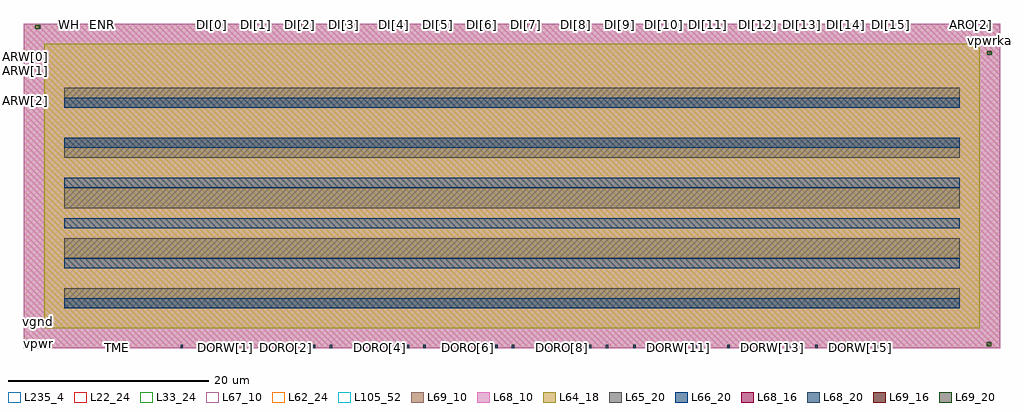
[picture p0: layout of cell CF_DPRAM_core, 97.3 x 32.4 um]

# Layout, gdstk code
import gdstk
lib = gdstk.Library(unit=1e-6, precision=1e-09)
def R(c, l, rs):  # rectangles x0, y0, x1, y1
    for r in rs: c.add(gdstk.rectangle(r[:2], r[2:], *l))
def A(c, l, x, y, w, h, nx, ny, dx, dy):  # array of equal rectangles
    R(c, l, [(x+i*dx, y+j*dy, x+i*dx+w, y+j*dy+h) for i in range(nx) for j in range(ny)])
L22_24 = (22, 24)
L33_24 = (33, 24)
L62_24 = (62, 24)
L64_18 = (64, 18)
L65_20 = (65, 20)
L66_20 = (66, 20)
L67_10 = (67, 10)
L68_10 = (68, 10)
L68_16 = (68, 16)
L68_20 = (68, 20)
L69_10 = (69, 10)
L69_16 = (69, 16)
L69_20 = (69, 20)
L105_52 = (105, 52)
L235_4 = (235, 4)

cf_dpram_core = lib.new_cell('CF_DPRAM_core')
R(cf_dpram_core, L22_24, [(0,0,97.295,32.395)])
R(cf_dpram_core, L33_24, [(0,0,97.295,32.395)])
R(cf_dpram_core, L62_24, [(0,0,97.295,32.395)])
R(cf_dpram_core, L64_18, [(2,2,95.295,30.395)])
A(cf_dpram_core, L65_20, 4, 4, 89.295, 2, 1, 5, 0, 5)
A(cf_dpram_core, L66_20, 4, 4, 89.295, 1, 1, 6, 0, 4)
R(cf_dpram_core, L67_10, [(0,0,97.295,32.395)])
A(cf_dpram_core, L68_10, 18.825, 0, 1.195, 32.395, 3, 1, 4.4, 0)
A(cf_dpram_core, L68_10, 23.085, 0, 0.14, 32.2, 3, 1, 4.4, 0)
A(cf_dpram_core, L68_10, 24.65, 0, 1.415, 32.395, 3, 1, 13.76, 0)
A(cf_dpram_core, L68_10, 26.295, 0, 1.19, 32.395, 3, 1, 13.76, 0)
A(cf_dpram_core, L68_10, 29.05, 0, 1.425, 32.395, 4, 1, 13.76, 0)
A(cf_dpram_core, L68_10, 30.705, 0, 1.18, 32.395, 4, 1, 13.76, 0)
A(cf_dpram_core, L68_10, 32.025, 0, 1.755, 32.395, 3, 1, 18.16, 0)
A(cf_dpram_core, L68_10, 36.845, 0, 0.14, 32.2, 4, 1, 4.4, 0)
A(cf_dpram_core, L68_10, 36.985, 0, 1.195, 32.395, 3, 1, 4.4, 0)
A(cf_dpram_core, L68_10, 47.21, 0, 1.435, 32.395, 3, 1, 13.76, 0)
A(cf_dpram_core, L68_10, 48.875, 0, 1.17, 32.395, 3, 1, 13.76, 0)
A(cf_dpram_core, L68_10, 55.005, 0, 0.14, 32.2, 4, 1, 4.4, 0)
A(cf_dpram_core, L68_10, 55.145, 0, 1.195, 32.395, 3, 1, 4.4, 0)
A(cf_dpram_core, L68_10, 73.165, 0, 0.14, 32.2, 4, 1, 4.4, 0)
A(cf_dpram_core, L68_10, 73.305, 0, 1.195, 32.395, 3, 1, 4.4, 0)
A(cf_dpram_core, L68_10, 93.52, 0, 0.23, 32.205, 3, 1, 0.425, 0)
R(cf_dpram_core, L68_10, [(0,0,0.255,24.53), (0.255,0,4.44,32.395), (4.44,0,4.7,32.165), (4.7,0,5.11,32.395), (5.11,0,5.4,32.165), (5.4,0,7.68,32.395), (7.68,0,7.97,32.16), (7.97,0,8.73,32.395), (8.99,0,9.145,32.395), (9.435,0,15.62,32.395), (15.85,0,17.245,32.395), (17.475,0,18.685,32.395), (18.685,0,18.825,32.16), (20.25,0,21.655,32.395), (21.885,0,23.085,32.395), (34.01,0,35.415,32.395), (35.645,0,36.845,32.395), (65.37,0,66.815,32.395), (67.045,0,68.205,32.395), (79.13,0,80.575,32.395), (80.805,0,81.965,32.395), (83.53,0,84.985,32.395), (85.215,0,86.365,32.395), (86.505,0,93.52,32.395), (93.75,0,93.945,32.395), (94.175,0,94.37,32.395), (94.6,0,97.295,32.395), (15.62,0.175,15.85,32.395), (17.245,0.175,17.475,32.395), (20.02,0.175,20.25,32.395), (21.655,0.175,21.885,32.395), (24.42,0.175,24.65,32.395), (26.065,0.175,26.295,32.395), (28.82,0.175,29.05,32.395), (30.475,0.175,30.705,32.395), (33.78,0.175,34.01,32.395), (35.415,0.175,35.645,32.395), (38.18,0.175,38.41,32.395), (39.825,0.175,40.055,32.395), (42.58,0.175,42.81,32.395), (44.235,0.175,44.465,32.395), (46.98,0.175,47.21,32.395), (48.645,0.175,48.875,32.395), (51.94,0.175,52.17,32.395), (53.585,0.175,53.815,32.395), (56.34,0.175,56.57,32.395), (57.995,0.175,58.225,32.395), (60.74,0.175,60.97,32.395), (62.405,0.175,62.635,32.395), (65.14,0.175,65.37,32.395), (66.815,0.175,67.045,32.395), (70.1,0.175,70.33,32.395), (71.755,0.175,71.985,32.395), (74.5,0.175,74.73,32.395), (76.165,0.175,76.395,32.395), (78.9,0.175,79.13,32.395), (80.575,0.175,80.805,32.395), (83.3,0.175,83.53,32.395), (84.985,0.175,85.215,32.395), (9.145,0.2,9.435,32.395), (8.73,0.22,8.99,32.395), (0,24.82,0.255,27.58), (0,27.87,0.255,29.01), (0,29.3,0.255,32.395)])
A(cf_dpram_core, L68_16, 18.685, 31.8, 0.14, 0.595, 4, 1, 4.4, 0)
A(cf_dpram_core, L68_16, 36.845, 31.8, 0.14, 0.595, 4, 1, 4.4, 0)
A(cf_dpram_core, L68_16, 55.005, 31.8, 0.14, 0.595, 4, 1, 4.4, 0)
A(cf_dpram_core, L68_16, 73.165, 31.8, 0.14, 0.595, 4, 1, 4.4, 0)
A(cf_dpram_core, L68_16, 93.52, 32.03, 0.23, 0.365, 3, 1, 0.425, 0)
R(cf_dpram_core, L68_16, [(8.73,0,8.99,0.32), (9.145,0,9.435,0.29), (15.62,0,15.85,0.365), (17.245,0,17.475,0.365), (20.02,0,20.25,0.365), (21.655,0,21.885,0.365), (24.42,0,24.65,0.365), (26.065,0,26.295,0.365), (28.82,0,29.05,0.365), (30.475,0,30.705,0.365), (33.78,0,34.01,0.365), (35.415,0,35.645,0.365), (38.18,0,38.41,0.365), (39.825,0,40.055,0.365), (42.58,0,42.81,0.365), (44.235,0,44.465,0.365), (46.98,0,47.21,0.365), (48.645,0,48.875,0.365), (51.94,0,52.17,0.365), (53.585,0,53.815,0.365), (56.34,0,56.57,0.365), (57.995,0,58.225,0.365), (60.74,0,60.97,0.365), (62.405,0,62.635,0.365), (65.14,0,65.37,0.365), (66.815,0,67.045,0.365), (70.1,0,70.33,0.365), (71.755,0,71.985,0.365), (74.5,0,74.73,0.365), (76.165,0,76.395,0.365), (78.9,0,79.13,0.365), (80.575,0,80.805,0.365), (83.3,0,83.53,0.365), (84.985,0,85.215,0.365), (0,24.53,0.285,24.825), (0,27.58,0.285,27.875), (0,29.01,0.285,29.305), (86.365,31.8,86.505,32.395), (4.44,32.075,4.7,32.395), (5.11,32.105,5.4,32.395), (7.68,32.105,7.97,32.395)])
A(cf_dpram_core, L68_20, 18.685, 31.8, 0.14, 0.595, 4, 1, 4.4, 0)
A(cf_dpram_core, L68_20, 36.845, 31.8, 0.14, 0.595, 4, 1, 4.4, 0)
A(cf_dpram_core, L68_20, 55.005, 31.8, 0.14, 0.595, 4, 1, 4.4, 0)
A(cf_dpram_core, L68_20, 73.165, 31.8, 0.14, 0.595, 4, 1, 4.4, 0)
A(cf_dpram_core, L68_20, 93.52, 32.03, 0.23, 0.365, 3, 1, 0.425, 0)
R(cf_dpram_core, L68_20, [(8.73,0,8.99,0.32), (9.145,0,9.435,0.29), (15.62,0,15.85,0.365), (17.245,0,17.475,0.365), (20.02,0,20.25,0.365), (21.655,0,21.885,0.365), (24.42,0,24.65,0.365), (26.065,0,26.295,0.365), (28.82,0,29.05,0.365), (30.475,0,30.705,0.365), (33.78,0,34.01,0.365), (35.415,0,35.645,0.365), (38.18,0,38.41,0.365), (39.825,0,40.055,0.365), (42.58,0,42.81,0.365), (44.235,0,44.465,0.365), (46.98,0,47.21,0.365), (48.645,0,48.875,0.365), (51.94,0,52.17,0.365), (53.585,0,53.815,0.365), (56.34,0,56.57,0.365), (57.995,0,58.225,0.365), (60.74,0,60.97,0.365), (62.405,0,62.635,0.365), (65.14,0,65.37,0.365), (66.815,0,67.045,0.365), (70.1,0,70.33,0.365), (71.755,0,71.985,0.365), (74.5,0,74.73,0.365), (76.165,0,76.395,0.365), (78.9,0,79.13,0.365), (80.575,0,80.805,0.365), (83.3,0,83.53,0.365), (84.985,0,85.215,0.365), (0,24.53,0.285,24.825), (0,27.58,0.285,27.875), (0,29.01,0.285,29.305), (4.44,32.075,4.7,32.395), (5.11,32.105,5.4,32.395), (7.68,32.105,7.97,32.395), (86.375,32.2,86.475,32.3)])
R(cf_dpram_core, L69_10, [(0,0,1.125,32.395), (1.125,0,1.195,31.86), (1.195,0,1.2,0.265), (1.2,0,1.385,0.265), (1.385,0,1.6,0.265), (1.6,0,1.67,0.265), (1.67,0,1.675,1.005), (1.675,0,1.845,1.005), (1.845,0,95.955,32.395), (95.955,0,95.975,0.24), (95.975,0,96.025,0.24), (96.025,0,96.145,0.24), (96.145,0,96.43,0.24), (96.43,0,96.45,1.005), (96.45,0,96.485,1.005), (96.485,0,96.605,1.005), (96.605,0,97.295,32.395), (95.955,0.605,95.975,31.86), (95.975,0.605,96.025,30.47), (96.025,0.605,96.145,29.275), (96.145,0.605,96.43,1.005), (1.195,0.63,1.2,31.86), (1.2,0.63,1.385,2.475), (1.385,0.63,1.6,1.005), (1.6,0.63,1.67,1.005), (1.385,1.005,1.845,1.265), (1.385,1.005,1.845,1.265), (96.145,1.005,96.605,1.265), (96.145,1.005,96.605,1.265), (1.385,1.265,1.6,1.415), (1.6,1.265,1.67,1.415), (1.67,1.265,1.675,1.415), (1.675,1.265,1.845,1.415), (96.145,1.265,96.43,1.415), (96.43,1.265,96.45,1.415), (96.45,1.265,96.485,1.415), (96.485,1.265,96.605,1.415), (1.385,1.415,1.845,1.675), (1.385,1.415,1.845,1.675), (96.145,1.415,96.605,1.675), (96.145,1.415,96.605,1.675), (1.385,1.675,1.6,2.475), (1.6,1.675,1.67,2.475), (1.67,1.675,1.675,2.475), (1.675,1.675,1.845,32.395), (96.145,1.675,96.43,29.275), (96.43,1.675,96.45,29.275), (96.45,1.675,96.485,29.275), (96.485,1.675,96.605,32.395), (1.2,2.84,1.385,31.86), (1.385,2.84,1.6,31.86), (1.6,2.84,1.67,32.395), (1.67,2.84,1.675,32.395), (96.025,29.61,96.145,30.47), (96.145,29.61,96.43,30.47), (96.43,29.61,96.45,30.47), (96.45,29.61,96.485,32.395), (95.975,30.835,96.025,31.86), (96.025,30.835,96.145,31.86), (96.145,30.835,96.43,31.86), (96.43,30.835,96.45,32.395), (1.125,32.225,1.195,32.395), (1.195,32.225,1.2,32.395), (1.2,32.225,1.385,32.395), (1.385,32.225,1.6,32.395), (95.955,32.225,95.975,32.395), (95.975,32.225,96.025,32.395), (96.025,32.225,96.145,32.395), (96.145,32.225,96.43,32.395)])
R(cf_dpram_core, L69_16, [(95.955,0.24,96.43,0.605), (1.195,0.265,1.67,0.63), (1.2,2.475,1.675,2.84), (96.025,29.275,96.485,29.61), (95.975,30.47,96.45,30.835), (1.125,31.86,1.6,32.225), (95.955,31.86,96.43,32.225)])
R(cf_dpram_core, L69_20, [(95.955,0.24,96.43,0.605), (1.195,0.265,1.67,0.63), (1.2,2.475,1.675,2.84), (96.025,29.275,96.485,29.61), (95.975,30.47,96.45,30.835), (1.125,31.86,1.6,32.225), (95.955,31.86,96.43,32.225)])
R(cf_dpram_core, L105_52, [(0,0,97.295,32.395)])
R(cf_dpram_core, L235_4, [(0,0,97.295,32.395)])
cf_dpram_core.add(gdstk.Label('vpwrka', (96.213,30.653), layer=69, texttype=5))
cf_dpram_core.add(gdstk.Label('vgnd', (1.438,2.658), layer=69, texttype=5))
cf_dpram_core.add(gdstk.Label('vpwr', (1.433,0.448), layer=69, texttype=5))
cf_dpram_core.add(gdstk.Label('DI[15]', (86.435,32.298), layer=68, texttype=5))
cf_dpram_core.add(gdstk.Label('TME', (9.29,0.1), layer=68, texttype=5))
cf_dpram_core.add(gdstk.Label('WH', (4.57,32.28), layer=68, texttype=5))
cf_dpram_core.add(gdstk.Label('SLP', (8.86,0.11), layer=68, texttype=5))
cf_dpram_core.add(gdstk.Label('ARW[2]', (0.128,24.675), layer=68, texttype=5))
cf_dpram_core.add(gdstk.Label('ARW[1]', (0.128,27.725), layer=68, texttype=5))
cf_dpram_core.add(gdstk.Label('ARW[0]', (0.128,29.155), layer=68, texttype=5))
cf_dpram_core.add(gdstk.Label('WL', (5.255,32.28), layer=68, texttype=5))
cf_dpram_core.add(gdstk.Label('ENR', (7.825,32.278), layer=68, texttype=5))
cf_dpram_core.add(gdstk.Label('DORW[1]', (20.135,0.088), layer=68, texttype=5))
cf_dpram_core.add(gdstk.Label('DORW[15]', (83.415,0.088), layer=68, texttype=5))
cf_dpram_core.add(gdstk.Label('DORW[14]', (79.015,0.088), layer=68, texttype=5))
cf_dpram_core.add(gdstk.Label('DORW[13]', (74.615,0.088), layer=68, texttype=5))
cf_dpram_core.add(gdstk.Label('DORW[12]', (70.215,0.088), layer=68, texttype=5))
cf_dpram_core.add(gdstk.Label('DORW[11]', (65.255,0.088), layer=68, texttype=5))
cf_dpram_core.add(gdstk.Label('DORW[10]', (60.855,0.088), layer=68, texttype=5))
cf_dpram_core.add(gdstk.Label('DI[13]', (77.635,32.298), layer=68, texttype=5))
cf_dpram_core.add(gdstk.Label('DI[12]', (73.235,32.298), layer=68, texttype=5))
cf_dpram_core.add(gdstk.Label('DI[11]', (68.275,32.298), layer=68, texttype=5))
cf_dpram_core.add(gdstk.Label('DI[10]', (63.875,32.298), layer=68, texttype=5))
cf_dpram_core.add(gdstk.Label('DI[9]', (59.475,32.298), layer=68, texttype=5))
cf_dpram_core.add(gdstk.Label('DI[8]', (55.075,32.298), layer=68, texttype=5))
cf_dpram_core.add(gdstk.Label('DI[7]', (50.115,32.298), layer=68, texttype=5))
cf_dpram_core.add(gdstk.Label('DI[6]', (45.715,32.298), layer=68, texttype=5))
cf_dpram_core.add(gdstk.Label('DI[5]', (41.315,32.298), layer=68, texttype=5))
cf_dpram_core.add(gdstk.Label('DI[4]', (36.915,32.298), layer=68, texttype=5))
cf_dpram_core.add(gdstk.Label('DI[0]', (18.755,32.278), layer=68, texttype=5))
cf_dpram_core.add(gdstk.Label('DI[1]', (23.155,32.298), layer=68, texttype=5))
cf_dpram_core.add(gdstk.Label('DI[2]', (27.555,32.298), layer=68, texttype=5))
cf_dpram_core.add(gdstk.Label('DI[3]', (31.955,32.298), layer=68, texttype=5))
cf_dpram_core.add(gdstk.Label('DI[14]', (82.035,32.298), layer=68, texttype=5))
cf_dpram_core.add(gdstk.Label('DORO[0]', (17.36,0.088), layer=68, texttype=5))
cf_dpram_core.add(gdstk.Label('DORO[1]', (21.77,0.088), layer=68, texttype=5))
cf_dpram_core.add(gdstk.Label('DORO[2]', (26.18,0.088), layer=68, texttype=5))
cf_dpram_core.add(gdstk.Label('DORO[3]', (30.59,0.088), layer=68, texttype=5))
cf_dpram_core.add(gdstk.Label('DORO[4]', (35.53,0.088), layer=68, texttype=5))
cf_dpram_core.add(gdstk.Label('DORO[5]', (39.94,0.088), layer=68, texttype=5))
cf_dpram_core.add(gdstk.Label('DORO[6]', (44.35,0.088), layer=68, texttype=5))
cf_dpram_core.add(gdstk.Label('DORO[7]', (48.76,0.088), layer=68, texttype=5))
cf_dpram_core.add(gdstk.Label('DORO[8]', (53.7,0.088), layer=68, texttype=5))
cf_dpram_core.add(gdstk.Label('DORO[9]', (58.11,0.088), layer=68, texttype=5))
cf_dpram_core.add(gdstk.Label('DORO[10]', (62.52,0.088), layer=68, texttype=5))
cf_dpram_core.add(gdstk.Label('DORO[11]', (66.93,0.088), layer=68, texttype=5))
cf_dpram_core.add(gdstk.Label('DORO[12]', (71.87,0.088), layer=68, texttype=5))
cf_dpram_core.add(gdstk.Label('DORO[13]', (76.28,0.088), layer=68, texttype=5))
cf_dpram_core.add(gdstk.Label('DORO[14]', (80.69,0.088), layer=68, texttype=5))
cf_dpram_core.add(gdstk.Label('DORO[15]', (85.1,0.088), layer=68, texttype=5))
cf_dpram_core.add(gdstk.Label('DORW[0]', (15.735,0.088), layer=68, texttype=5))
cf_dpram_core.add(gdstk.Label('DORW[2]', (24.535,0.088), layer=68, texttype=5))
cf_dpram_core.add(gdstk.Label('DORW[3]', (28.935,0.088), layer=68, texttype=5))
cf_dpram_core.add(gdstk.Label('DORW[4]', (33.895,0.088), layer=68, texttype=5))
cf_dpram_core.add(gdstk.Label('DORW[5]', (38.295,0.088), layer=68, texttype=5))
cf_dpram_core.add(gdstk.Label('DORW[6]', (42.695,0.088), layer=68, texttype=5))
cf_dpram_core.add(gdstk.Label('ARO[2]', (94.485,32.3), layer=68, texttype=5))
cf_dpram_core.add(gdstk.Label('ARO[1]', (94.06,32.3), layer=68, texttype=5))
cf_dpram_core.add(gdstk.Label('ARO[0]', (93.635,32.3), layer=68, texttype=5))
cf_dpram_core.add(gdstk.Label('DORW[7]', (47.095,0.088), layer=68, texttype=5))
cf_dpram_core.add(gdstk.Label('DORW[8]', (52.055,0.088), layer=68, texttype=5))
cf_dpram_core.add(gdstk.Label('DORW[9]', (56.455,0.088), layer=68, texttype=5))

lib.write_gds('CF_DPRAM_core.gds')
